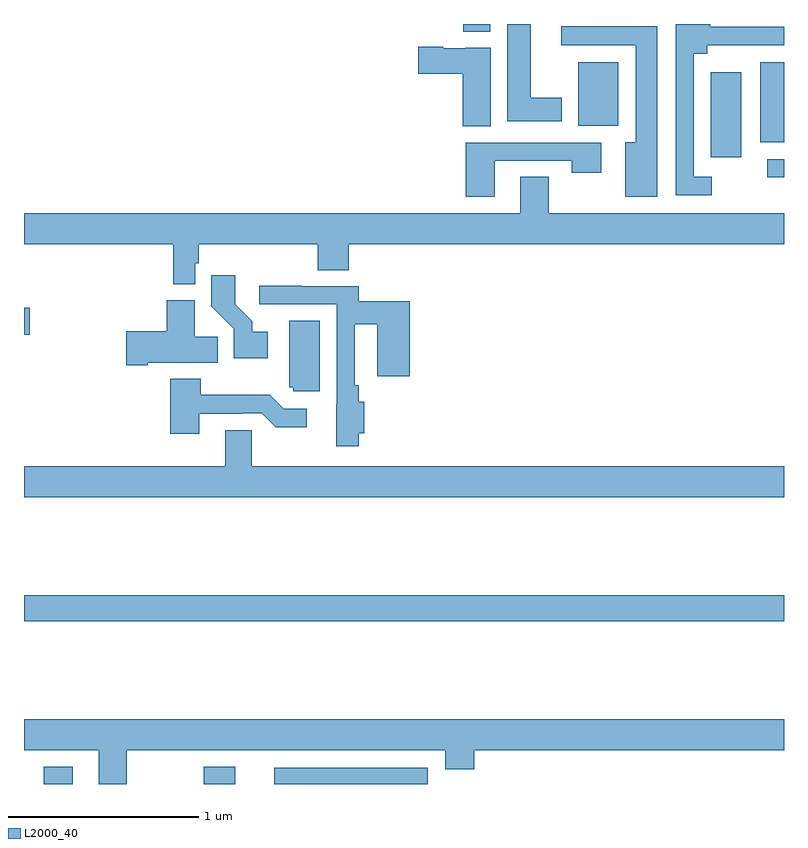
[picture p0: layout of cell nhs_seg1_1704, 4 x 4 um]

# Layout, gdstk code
import gdstk
lib = gdstk.Library(unit=1e-6, precision=1e-09)
def R(c, l, rs):  # rectangles x0, y0, x1, y1
    for r in rs: c.add(gdstk.rectangle(r[:2], r[2:], *l))
def P(c, l, *ps):  # polygons
    for p in ps: c.add(gdstk.Polygon(p, *l))
L2000_40 = (2000, 40)

nhs_seg1_1704 = lib.new_cell('nhs_seg1_1704')
R(nhs_seg1_1704, L2000_40, [(203.105,574.199,203.257,574.291), (203.945,574.199,204.112,574.291), (204.318,574.199,205.125,574.284), (203,575.056,207,575.192), (203,576.563,203.029,576.705), (206.913,577.392,207,577.488), (206.615,577.497,206.776,577.945), (206.876,577.577,207,577.999), (205.916,577.664,206.128,577.999), (205.313,578.159,205.453,578.199)])
P(nhs_seg1_1704, L2000_40, [(205.831,577.81),(205.666,577.81),(205.666,578.199),(205.544,578.199),(205.544,577.688),(205.831,577.688)],
  [(206.62,577.395),(206.526,577.395),(206.526,578.042),(206.596,578.042),(206.596,578.088),(207,578.088),(207,578.184),(206.611,578.184),(206.611,578.199),(206.43,578.199),(206.43,577.299),(206.62,577.299)],
  [(206.332,578.186),(205.827,578.186),(205.827,578.088),(206.219,578.088),(206.219,577.576),(206.165,577.576),(206.165,577.29),(206.332,577.29)],
  [(205.456,578.074),(205.326,578.074),(205.326,578.071),(205.206,578.071),(205.206,578.079),(205.074,578.079),(205.074,577.937),(205.31,577.937),(205.31,577.66),(205.456,577.66)],
  [(205.477,577.479),(205.882,577.479),(205.882,577.416),(206.038,577.416),(206.038,577.575),(205.325,577.575),(205.325,577.29),(205.477,577.29)],
  [(203.901,576.939),(203.921,576.939),(203.921,577.04),(204.545,577.04),(204.545,576.904),(204.71,576.904),(204.71,577.04),(207,577.04),(207,577.204),(205.761,577.204),(205.761,577.394),(205.613,577.394),(205.613,577.204),(203,577.204),(203,577.04),(203.785,577.04),(203.785,576.83),(203.901,576.83)],
  [(204.283,576.58),(204.202,576.58),(204.202,576.635),(204.112,576.725),(204.112,576.877),(203.986,576.877),(203.986,576.714),(204.105,576.595),(204.105,576.44),(204.283,576.44)],
  [(204.761,576.044),(204.791,576.044),(204.791,576.21),(204.761,576.21),(204.761,576.298),(204.741,576.298),(204.741,576.618),(204.86,576.618),(204.86,576.345),(205.031,576.345),(205.031,576.739),(204.761,576.739),(204.761,576.819),(204.461,576.819),(204.461,576.822),(204.237,576.822),(204.237,576.723),(204.645,576.723),(204.645,576.198),(204.644,576.198),(204.644,575.976),(204.761,575.976)],
  [(203.65,576.416),(204.02,576.416),(204.02,576.554),(203.899,576.554),(203.899,576.745),(203.75,576.745),(203.75,576.582),(203.538,576.582),(203.538,576.404),(203.65,576.404)],
  [(204.556,576.637),(204.395,576.637),(204.395,576.288),(204.417,576.288),(204.417,576.267),(204.556,576.267)],
  [(203.923,576.147),(204.152,576.147),(204.152,576.15),(204.252,576.15),(204.325,576.077),(204.487,576.077),(204.487,576.174),(204.366,576.174),(204.293,576.247),(203.931,576.247),(203.931,576.331),(203.771,576.331),(203.771,576.042),(203.923,576.042)],
  [(207,575.872),(204.198,575.872),(204.198,576.062),(204.059,576.062),(204.059,575.872),(203,575.872),(203,575.708),(207,575.708)],
  [(203.541,574.376),(205.217,574.376),(205.217,574.277),(205.37,574.277),(205.37,574.376),(207,574.376),(207,574.54),(203,574.54),(203,574.376),(203.393,574.376),(203.393,574.199),(203.541,574.199)])

lib.write_gds('nhs_seg1_1704.gds')
